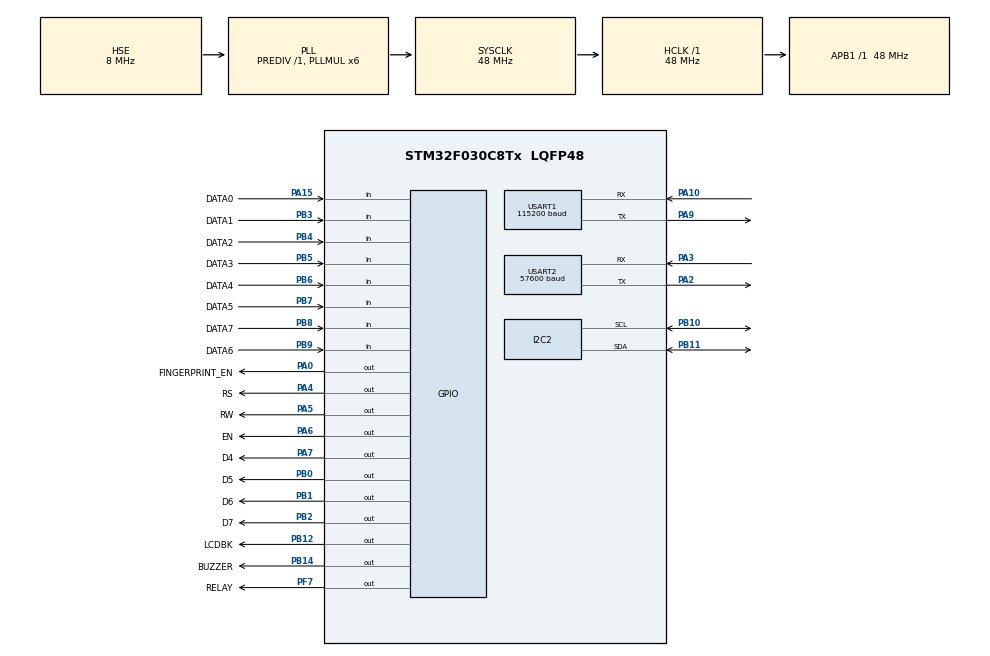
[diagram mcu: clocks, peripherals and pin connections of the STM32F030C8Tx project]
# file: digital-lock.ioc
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FREERTOS.Tasks01=counterTask,24,128,StartCounterTask,Default,NULL,Dynamic,NULL,NULL;keypadTask,8,128,StartKeypadTask,Default,NULL,Dynamic,NULL,NULL;gsmTask,8,128,StartGsmTask,Default,NULL,Dynamic,NULL,NULL;settingsTask,8,128,StartSettingsTask,Default,NULL,Dynamic,NULL,NULL
FREERTOS.configTOTAL_HEAP_SIZE=2530
I2C2.Timing=0x20303E5D
Mcu.Family=STM32F0
Mcu.Name=STM32F030C8Tx
Mcu.Package=LQFP48
NVIC.TIM1_BRK_UP_TRG_COM_IRQn=true\:3\:0\:false\:false\:true\:false\:false\:true\:true
NVIC.TimeBase=TIM1_BRK_UP_TRG_COM_IRQn
NVIC.TimeBaseIP=TIM1
PA0.GPIO_Label=FINGERPRINT_EN
PA0.Signal=GPIO_Output
PA10.Mode=Asynchronous
PA10.Signal=USART1_RX
PA15.GPIO_Label=DATA0
PA15.Signal=GPIO_Input
PA2.Mode=Asynchronous
PA2.Signal=USART2_TX
PA3.Mode=Asynchronous
PA3.Signal=USART2_RX
PA4.GPIO_Label=RS
PA4.Signal=GPIO_Output
PA5.GPIO_Label=RW
PA5.Signal=GPIO_Output
PA6.GPIO_Label=EN
PA6.Signal=GPIO_Output
PA7.GPIO_Label=D4
PA7.Signal=GPIO_Output
PA9.Mode=Asynchronous
PA9.Signal=USART1_TX
PB0.GPIO_Label=D5
PB0.Signal=GPIO_Output
PB1.GPIO_Label=D6
PB1.Signal=GPIO_Output
PB10.Mode=I2C
PB10.Signal=I2C2_SCL
PB11.Mode=I2C
PB11.Signal=I2C2_SDA
PB12.GPIO_Label=LCDBK
PB12.Signal=GPIO_Output
PB14.GPIO_Label=BUZZER
PB14.Signal=GPIO_Output
PB2.GPIO_Label=D7
PB2.Signal=GPIO_Output
PB3.GPIO_Label=DATA1
PB3.Signal=GPIO_Input
PB4.GPIO_Label=DATA2
PB4.Signal=GPIO_Input
PB5.GPIO_Label=DATA3
PB5.Signal=GPIO_Input
PB6.GPIO_Label=DATA4
PB6.Signal=GPIO_Input
PB7.GPIO_Label=DATA5
PB7.Signal=GPIO_Input
PB8.GPIO_Label=DATA7
PB8.Signal=GPIO_Input
PB9.GPIO_Label=DATA6
PB9.Signal=GPIO_Input
PF0-OSC_IN.Mode=HSE-External-Oscillator
PF0-OSC_IN.Signal=RCC_OSC_IN
PF1-OSC_OUT.Mode=HSE-External-Oscillator
PF1-OSC_OUT.Signal=RCC_OSC_OUT
PF7.GPIO_Label=RELAY
PF7.Signal=GPIO_Output
ProjectManager.HeapSize=0x200
ProjectManager.StackSize=0x00
ProjectManager.TargetToolchain=Makefile
RCC.AHBFreq_Value=48000000
RCC.APB1Freq_Value=48000000
RCC.APB1TimFreq_Value=48000000
RCC.HCLKFreq_Value=48000000
RCC.PLLMUL=RCC_PLL_MUL6
RCC.PLLSourceVirtual=RCC_PLLSOURCE_HSE
RCC.SYSCLKFreq_VALUE=48000000
RCC.SYSCLKSource=RCC_SYSCLKSOURCE_PLLCLK
USART1.BaudRate=115200
USART1.VirtualMode-Asynchronous=VM_ASYNC
USART2.BaudRate=57600
USART2.VirtualMode-Asynchronous=VM_ASYNC
VP_FREERTOS_VS_CMSIS_V2.Mode=CMSIS_V2
VP_SYS_VS_tim1.Mode=TIM1
board=custom

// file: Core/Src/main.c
/* USER CODE BEGIN Header */
/**
 ******************************************************************************
 * @file           : main.c
 * @brief          : Main program body
 ******************************************************************************
 * @attention
 *
 * Copyright (c) 2023 STMicroelectronics.
 * All rights reserved.
 *
 * This software is licensed under terms that can be found in the LICENSE file
 * in the root directory of this software component.
 * If no LICENSE file comes with this software, it is provided AS-IS.
 *
 ******************************************************************************
 */
/* USER CODE END Header */
#include "main.h"

#include "cmsis_os.h"
#include "gpio.h"
#include "i2c.h"
#include "usart.h"

void SystemClock_Config(void);
void MX_FREERTOS_Init(void);

int main(void) {

  /* MCU Configuration--------------------------------------------------------*/

  /* Reset of all peripherals, Initializes the Flash interface and the Systick. */
  HAL_Init();

  /* Configure the system clock */
  SystemClock_Config();

  /* Initialize all configured peripherals */
  MX_GPIO_Init();
  MX_USART1_UART_Init();
  MX_USART2_UART_Init();
  MX_I2C2_Init();

  /* Init scheduler */
  osKernelInitialize(); /* Call init function for freertos objects (in freertos.c) */
  MX_FREERTOS_Init();

  /* Start scheduler */
  osKernelStart();

  /* We should never get here as control is now taken by the scheduler */
  /* Infinite loop */
  while (1) {

  }
}

void SystemClock_Config(void) {
  RCC_OscInitTypeDef       RCC_OscInitStruct = {0};
  RCC_ClkInitTypeDef       RCC_ClkInitStruct = {0};
  RCC_PeriphCLKInitTypeDef PeriphClkInit     = {0};

  /** Initializes the RCC Oscillators according to the specified parameters
   * in the RCC_OscInitTypeDef structure.
   */
  RCC_OscInitStruct.OscillatorType = RCC_OSCILLATORTYPE_HSE;
  RCC_OscInitStruct.HSEState       = RCC_HSE_ON;
  RCC_OscInitStruct.PLL.PLLState   = RCC_PLL_ON;
  RCC_OscInitStruct.PLL.PLLSource  = RCC_PLLSOURCE_HSE;
  RCC_OscInitStruct.PLL.PLLMUL     = RCC_PLL_MUL6;
  RCC_OscInitStruct.PLL.PREDIV     = RCC_PREDIV_DIV1;
  if (HAL_RCC_OscConfig(&RCC_OscInitStruct) != HAL_OK)
    Error_Handler();

  /** Initializes the CPU, AHB and APB buses clocks
   */
  RCC_ClkInitStruct.ClockType      = RCC_CLOCKTYPE_HCLK | RCC_CLOCKTYPE_SYSCLK | RCC_CLOCKTYPE_PCLK1;
  RCC_ClkInitStruct.SYSCLKSource   = RCC_SYSCLKSOURCE_PLLCLK;
  RCC_ClkInitStruct.AHBCLKDivider  = RCC_SYSCLK_DIV1;
  RCC_ClkInitStruct.APB1CLKDivider = RCC_HCLK_DIV1;

  if (HAL_RCC_ClockConfig(&RCC_ClkInitStruct, FLASH_LATENCY_1) != HAL_OK)
    Error_Handler();
  PeriphClkInit.PeriphClockSelection = RCC_PERIPHCLK_USART1;
  PeriphClkInit.Usart1ClockSelection = RCC_USART1CLKSOURCE_PCLK1;
  if (HAL_RCCEx_PeriphCLKConfig(&PeriphClkInit) != HAL_OK)
    Error_Handler();
}

void HAL_TIM_PeriodElapsedCallback(TIM_HandleTypeDef *htim) {
  if (htim->Instance == TIM1)
    HAL_IncTick();
}

void Error_Handler(void) {
  __disable_irq();
  while (1) {
  }
}

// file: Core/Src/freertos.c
/* USER CODE BEGIN Header */
/**
 ******************************************************************************
 * File Name          : freertos.c
 * Description        : Code for freertos applications
 ******************************************************************************
 * @attention
 *
 * Copyright (c) 2023 STMicroelectronics.
 * All rights reserved.
 *
 * This software is licensed under terms that can be found in the LICENSE file
 * in the root directory of this software component.
 * If no LICENSE file comes with this software, it is provided AS-IS.
 *
 ******************************************************************************
 */
/* USER CODE END Header */

#include "FreeRTOS.h"

#include "cmsis_os.h"
#include "main.h"
#include "task.h"

/* USER CODE BEGIN Includes */
#include <limits.h>
#include <stdint.h>
#include <stdio.h>
#include <string.h>
#include <time.h>

#include "Fingerprint.h"
#include "KeyPad.h"
#include "cJSON.h"
#include "ds1307.h"
#include "ee24.h"
#include "gsm.h"
#include "lcd.h"
#include "modes.h"
#include "sha-256.h"
#include "usart.h"

/* USER CODE END Includes */

/* USER CODE BEGIN PD */
#define LCD_BK_ON       HAL_GPIO_WritePin(LCDBK_GPIO_Port, LCDBK_Pin, GPIO_PIN_SET)
#define LCD_BK_OFF      HAL_GPIO_WritePin(LCDBK_GPIO_Port, LCDBK_Pin, GPIO_PIN_RESET)
#define RELAY_ON        HAL_GPIO_WritePin(RELAY_GPIO_Port, RELAY_Pin, GPIO_PIN_SET)
#define RELAY_OFF       HAL_GPIO_WritePin(RELAY_GPIO_Port, RELAY_Pin, GPIO_PIN_RESET)
#define BUZZER_ON       HAL_GPIO_WritePin(BUZZER_GPIO_Port, BUZZER_Pin, GPIO_PIN_SET)
#define BUZZER_OFF      HAL_GPIO_WritePin(BUZZER_GPIO_Port, BUZZER_Pin, GPIO_PIN_RESET)
#define FINGERPRINT_ON  HAL_GPIO_WritePin(FINGERPRINT_EN_GPIO_Port, FINGERPRINT_EN_Pin, GPIO_PIN_SET)
#define FINGERPRINT_OFF HAL_GPIO_WritePin(FINGERPRINT_EN_GPIO_Port, FINGERPRINT_EN_Pin, GPIO_PIN_RESET)

#define SIZE_OF_SHA_256_HASH_STRING 65
#define EEPROM_SIZE                 32

/* USER CODE END PD */

/* USER CODE BEGIN Variables */
Lcd_HandleTypeDef  lcd;
EE24_HandleTypeDef ee24;
Mode               activeMode             = NORMAL;
uint8_t            ee24_data[EEPROM_SIZE] = {0};
char               phoneNumber[]          = "099****8679";
char               welcomeMessage[8]      = "WELCOME";
char               errorMessage[8]        = "ERROR";
char               password[SIZE_OF_SHA_256_HASH_STRING]
    = "ff98ef67b552532453d1ad8b1912a776ab1b30bf3814fa009b8ffe3c3e5b7efe"; // 235689
char    passwordtemp[16] = {0};
uint8_t passwordIndex    = 0;
uint8_t relayDelay       = 5;
uint8_t userLastId       = 1;

/* USER CODE END Variables */
/* Definitions for counterTask */
osThreadId_t         counterTaskHandle;
const osThreadAttr_t counterTask_attributes = {
    .name       = "counterTask",
    .stack_size = 128 * 1,
    .priority   = (osPriority_t)osPriorityNormal,
};
/* Definitions for keypadTask */
osThreadId_t         keypadTaskHandle;
const osThreadAttr_t keypadTask_attributes = {
    .name       = "keypadTask",
    .stack_size = 128 * 4,
    .priority   = (osPriority_t)osPriorityLow,
};
/* Definitions for gsmTask */
osThreadId_t         gsmTaskHandle;
const osThreadAttr_t gsmTask_attributes = {
    .name       = "gsmTask",
    .stack_size = 128 * 5,
    .priority   = (osPriority_t)osPriorityLow,
};
/* Definitions for settingsTask */
osThreadId_t         settingsTaskHandle;
const osThreadAttr_t settingsTask_attributes = {
    .name       = "settingsTask",
    .stack_size = 128 * 6,
    .priority   = (osPriority_t)osPriorityLow,
};

/* USER CODE BEGIN FunctionPrototypes */

void clearVaribles() {
  Lcd_clear(&lcd);
  passwordIndex = 0;

  for (uint8_t i = 0; i < 16; i++) passwordtemp[i] = 0;
}

void setDateTime() {
  // const char *DAYS_OF_WEEK[7]
  //     = {"Sunday", "Monday", "Tuesday", "Wednesday", "Thursday", "Friday", "Saturday"};

  DS1307_SetTimeZone(+3, 30);
  DS1307_SetDate(1);
  DS1307_SetMonth(1);
  DS1307_SetYear(2024);
  DS1307_SetHour(12);
  DS1307_SetMinute(30);
  DS1307_SetSecond(30);
}

void getDateTime(char *ans) {
  struct tm st = {
      .tm_sec  = (int)DS1307_GetSecond(),        /* Seconds.	[0-60] (1 leap second) */
      .tm_min  = (int)DS1307_GetMinute(),        /* Minutes.	[0-59] */
      .tm_hour = (int)DS1307_GetHour(),          /* Hours.	[0-23] */
      .tm_mday = (int)DS1307_GetDate(),          /* Day.		[1-31] */
      .tm_mon  = ((int)DS1307_GetMonth()) - 1,   /* Month.	[0-11] */
      .tm_year = ((int)DS1307_GetYear()) - 1900, /* Year	- 1900.  */
      .tm_wday = (int)DS1307_GetDayOfWeek(),     /* Day of week.	[0-6] */
  };
  // time_t t = mktime(&st);
  // sprintf(ans, "%ld", t);
  strftime(ans, 16, "%m-%d %H:%M:%S", &st);
}

void openLock() {
  RELAY_ON;
  osDelay(relayDelay * 1000);
  RELAY_OFF;
}

void hash_to_string(char string[SIZE_OF_SHA_256_HASH_STRING], const uint8_t hash[SIZE_OF_SHA_256_HASH]) {
  for (size_t i = 0; i < SIZE_OF_SHA_256_HASH; i++) string += sprintf(string, "%02x", hash[i]);
}

int hash_check(const char input[], const char output[]) {
  uint8_t hash[SIZE_OF_SHA_256_HASH];
  char    hash_string[SIZE_OF_SHA_256_HASH_STRING];
  calc_sha_256(hash, input, strlen(input));
  hash_to_string(hash_string, hash);
  return strcmp(output, hash_string) == 0;
}

void checkPasswordAndOpen() {
  activeMode = CHECK_PASSWORD;

  int result = hash_check(passwordtemp, password);

  if (result) {
    Lcd_clear(&lcd);
    Lcd_string(&lcd, welcomeMessage);
    openLock();
  } else {
    Lcd_clear(&lcd);
    Lcd_string(&lcd, errorMessage);
    osDelay(relayDelay * 1000);
  }

  activeMode = NORMAL;
  clearVaribles();
}

void smsCallBack(char *message) {
  if (message == NULL || *message == '\0')
    return;

  const cJSON *mode        = NULL;
  cJSON       *jsonMessage = cJSON_Parse(message);
  if (jsonMessage == NULL)
    goto end;

  mode = cJSON_GetObjectItemCaseSensitive(jsonMessage, "mode");
  if (!cJSON_IsNumber(mode))
    goto end;

  int modeNumber = mode->valuedouble;
  switch (modeNumber) {
  case SEND_STATUS:
    cJSON *object = cJSON_CreateObject();
    char   t[10]  = {0};
    getDateTime(t);
    cJSON_AddStringToObject(object, "time", t);
    cJSON_AddStringToObject(object, "name", "Reza");
    cJSON_AddNumberToObject(object, "code", 1402);
    char *ss = cJSON_PrintUnformatted(object);
    if (ss == NULL)
      ss = "Null";

    // Gsm_SendSms(phoneNumber, ss);
    cJSON_Delete(object);
    break;

  case GET_SETTINGS_FROM_SMS:
    // TODO
    break;

  default: break;
  }

end:
  cJSON_Delete(jsonMessage);
}

void createUser() {
  activeMode = CREATE_USER;
  Lcd_clear(&lcd);
  Lcd_string(&lcd, "Create User");
  Lcd_cursor(&lcd, 1, 0);
  Lcd_string(&lcd, "Ready?");

  char input_key = -1, answer = -1;

  input_key = KeyPad_WaitForKeyGetChar(0);
  if (!(input_key >= '0' && input_key <= '9')) {
    Lcd_clear(&lcd);
    activeMode = NORMAL;
    return;
  }

  while (answer != FINGERPRINT_OK) {
    Lcd_clear(&lcd);
    Lcd_string(&lcd, "Get Finger 1");
    answer = r308_getimage();
    switch (answer) {
    case FINGERPRINT_OK:
      Lcd_clear(&lcd);
      Lcd_string(&lcd, "FP: OK");
      break;

    default:
      Lcd_clear(&lcd);
      Lcd_string(&lcd, "FP: Try again!");
      break;
    }

    if (answer == FINGERPRINT_OK) {
      answer = r308_genchar(0x01);
      switch (answer) {
      case FINGERPRINT_OK:
        Lcd_clear(&lcd);
        Lcd_string(&lcd, "FP:GenChar1 OK");
        break;

      default:
        Lcd_clear(&lcd);
        Lcd_string(&lcd, "FP:GenChar1 Err");
        break;
      }
    }

    Lcd_cursor(&lcd, 1, 0);
    Lcd_string(&lcd, "Ready?");
    input_key = KeyPad_WaitForKeyGetChar(0);
    if (!(input_key >= '0' && input_key <= '9')) {
      Lcd_clear(&lcd);
      activeMode = NORMAL;
      return;
    }
  }

  input_key = -1, answer = -1;
  while (answer != FINGERPRINT_OK) {
    Lcd_clear(&lcd);
    Lcd_string(&lcd, "Get Finger 2");
    answer = r308_getimage();
    switch (answer) {
    case FINGERPRINT_OK:
      Lcd_clear(&lcd);
      Lcd_string(&lcd, "FP: OK");
      break;

    default:
      Lcd_clear(&lcd);
      Lcd_string(&lcd, "FP: Try again!");
      break;
    }

    if (answer == FINGERPRINT_OK) {
      answer = r308_genchar(0x02);
      switch (answer) {
      case FINGERPRINT_OK:
        Lcd_clear(&lcd);
        Lcd_string(&lcd, "FP:GenChar2 OK");
        break;

      default:
        Lcd_clear(&lcd);
        Lcd_string(&lcd, "FP:GenChar2 Err");
        break;
      }
    }

    Lcd_cursor(&lcd, 1, 0);
    Lcd_string(&lcd, "Ready?");
    input_key = KeyPad_WaitForKeyGetChar(0);
    if (!(input_key >= '0' && input_key <= '9')) {
      Lcd_clear(&lcd);
      activeMode = NORMAL;
      return;
    }
  }

  answer = r308_regmodel();
  switch (answer) {
  case FINGERPRINT_OK:
    Lcd_clear(&lcd);
    Lcd_string(&lcd, "FP:RegModel OK");
    break;

  default:
    Lcd_clear(&lcd);
    Lcd_string(&lcd, "FP:RegModel Err");
    Lcd_cursor(&lcd, 1, 0);
    Lcd_string(&lcd, "Ready?");
    return;
  }

  answer = r308_store(userLastId);
  switch (answer) {
  case FINGERPRINT_OK:
    Lcd_clear(&lcd);
    char s[16] = {0};
    sprintf(s, "ID: %d", userLastId);
    Lcd_string(&lcd, s);
    break;

  default:
    Lcd_string(&lcd, "FP: onSave Err");
    Lcd_cursor(&lcd, 1, 0);
    Lcd_string(&lcd, "Ready?");
    return;
  }

  if (answer == FINGERPRINT_OK) {
    userLastId++;
    osDelay(3000);
    activeMode = NORMAL;
  }
}

void readUser() {
  activeMode = READ_USER;
  Lcd_clear(&lcd);
  Lcd_string(&lcd, "Read User");
  Lcd_cursor(&lcd, 1, 0);
  Lcd_string(&lcd, "Ready?");

  char input_key = -1, answer = -1;

  input_key = KeyPad_WaitForKeyGetChar(0);
  if (!(input_key >= '0' && input_key <= '9')) {
    Lcd_clear(&lcd);
    activeMode = NORMAL;
    return;
  }

  Lcd_clear(&lcd);
  Lcd_string(&lcd, "Get Finger");
  answer = r308_getimage();
  switch (answer) {
  case FINGERPRINT_OK: break;

  default:
    Lcd_clear(&lcd);
    Lcd_string(&lcd, "FP: Try again!");
    osDelay(3000); // to show message
    return;
  }

  answer = r308_genchar(0x01);
  switch (answer) {
  case FINGERPRINT_OK: break;

  default:
    Lcd_clear(&lcd);
    Lcd_string(&lcd, "FP:GenChar Err");
    osDelay(3000);
    break;
  }

  uint16_t search_answer = r308_search();
  switch (search_answer) {
  case FINGERPRINT_PACKETRECIEVEERR:
    Lcd_clear(&lcd);
    Lcd_string(&lcd, "PF: Rec Err");
    break;

  case FINGERPRINT_NOTFOUND:
    Lcd_clear(&lcd);
    Lcd_string(&lcd, "FP: Not Found");
    osDelay(relayDelay * 1000);
    break;

  default:
    Lcd_clear(&lcd);
    char buffer[16];
    sprintf(buffer, "%s %d", welcomeMessage, search_answer);
    Lcd_string(&lcd, buffer);
    openLock();
    break;
  }

  activeMode = NORMAL;
}

void updateUser() {
  // TODO
}

void deleteUser() {
  // TODO
}

/* USER CODE END FunctionPrototypes */

void StartCounterTask(void *argument);
void StartKeypadTask(void *argument);
void StartGsmTask(void *argument);
void StartSettingsTask(void *argument);

void MX_FREERTOS_Init(void); /* (MISRA C 2004 rule 8.1) */

void MX_FREERTOS_Init(void) {

  /* Create the thread(s) */
  /* creation of counterTask */
  counterTaskHandle = osThreadNew(StartCounterTask, NULL, &counterTask_attributes);

  /* creation of keypadTask */
  keypadTaskHandle = osThreadNew(StartKeypadTask, NULL, &keypadTask_attributes);

  /* creation of gsmTask */
  gsmTaskHandle = osThreadNew(StartGsmTask, NULL, &gsmTask_attributes);

  /* creation of settingsTask */
  settingsTaskHandle = osThreadNew(StartSettingsTask, NULL, &settingsTask_attributes);

}

void StartCounterTask(void *argument) {
  /* USER CODE BEGIN StartCounterTask */
  DS1307_Init(&hi2c2);
  setDateTime();
  LCD_BK_ON;
  Lcd_PortType ports[] = {D4_GPIO_Port, D5_GPIO_Port, D6_GPIO_Port, D7_GPIO_Port};
  Lcd_PinType  pins[]  = {D4_Pin, D5_Pin, D6_Pin, D7_Pin};
  lcd                  = Lcd_create(ports, pins, RS_GPIO_Port, RS_Pin, EN_GPIO_Port, EN_Pin, LCD_4_BIT_MODE);

  /* Infinite loop */
  uint16_t i = 0;
  for (;;) {
    switch (activeMode) {
    case NORMAL:
      // show time in lcd
      Lcd_cursor(&lcd, 0, 0);

      char t[16] = {0};
      getDateTime(t);
      Lcd_string(&lcd, t);
      Lcd_cursor(&lcd, 1, passwordIndex);
      break;

    case LOCK:
      Lcd_cursor(&lcd, 0, 0);
      Lcd_string(&lcd, "DISABLE MODE");
      break;

    default: break;
    }

    if (i < USHRT_MAX)
      i++;
    else
      i = 0;

    osDelay(1000);
  }
  /* USER CODE END StartCounterTask */
}

void StartKeypadTask(void *argument) {
  /* USER CODE BEGIN StartKeypadTask */
  KeyPad_Init();

  // wait for lcd initialisation done
  while (!lcd.en_pin) osDelay(500);

  FINGERPRINT_ON;
  char ans = -1;
  for (uint8_t i = 0; i < 5; i++) {
    ans = r308_verifypassword();
    switch (ans) {
    case FINGERPRINT_OK:               break;
    case FINGERPRINT_PACKETRECIEVEERR: Lcd_string(&lcd, "FP Error!"); break;
    case FINGERPRINT_WRONGPASSWORD:    Lcd_string(&lcd, "FP: Wrong PW!"); break;

    default: break;
    }

    if (ans == FINGERPRINT_OK)
      break;
  }

  /* Infinite loop */
  for (;;) {
    char input_key;
    switch (activeMode) {
    case NORMAL:
      input_key = KeyPad_WaitForKeyGetChar(0);

      if (input_key >= '0' && input_key <= '9') {
        // get a password
        char key_buffer[2];
        sprintf(key_buffer, "*");
        Lcd_string(&lcd, key_buffer);
        passwordtemp[passwordIndex] = input_key;

        passwordIndex++;
        if (passwordIndex > 15)
          passwordIndex = 0;
      } // else
        // get a command
      break;

    case LOCK: input_key = KeyPad_WaitForKeyGetChar(0); break;

    // USER CRUD Operations
    case CREATE_USER: createUser(); continue;

    case READ_USER: readUser(); continue;

    case UPDATE_USER: updateUser(); continue;

    case DELETE_USER: deleteUser(); continue;

    default:
      // dont run below statements
      continue;
    }

    // for NORMAL and LOCK mode
    switch (input_key) {
    case 'A':
      if (activeMode == NORMAL)
        checkPasswordAndOpen();
      break;

    case 'D':
      activeMode = activeMode == NORMAL ? LOCK : NORMAL;
      clearVaribles();
      break;

    case 'B': activeMode = WRITE_SETTINGS_TO_EEPROM; break;

    case 'C': createUser(); break;

    case '*': break;

    case '#': readUser(); break;

    default: break;
    }
  }
  /* USER CODE END StartKeypadTask */
}

void StartGsmTask(void *argument) {
  /* USER CODE BEGIN StartGsmTask */

  // osDelay(300);
  // Gsm_SendSms("zz", "zz");

#if (DEBUG_MODE)
  printf("[GSM] started\n");
#endif

  /* Infinite loop */
  for (;;) {
    // char message[50] = {0};
    // Gsm_WaitForMessage(message);
    // smsCallBack(message);
  }
  /* USER CODE END StartGsmTask */
}

void StartSettingsTask(void *argument) {
  /* USER CODE BEGIN StartSettingsTask */

  if (EE24_Init(&ee24, &hi2c2, EE24_ADDRESS_DEFAULT)) {
    if (EE24_Read(&ee24, 0, ee24_data, EEPROM_SIZE, 1000)) {
      // set settings from eeprom
      cJSON *ee24settings = cJSON_Parse((char *)ee24_data);

      cJSON *wMessage = cJSON_GetObjectItem(ee24settings, "welMes");
      if (cJSON_IsString(wMessage)) {
        char *s = cJSON_GetStringValue(wMessage);
        Lcd_string(&lcd, s);
        sprintf(welcomeMessage, "%s", cJSON_GetStringValue(wMessage));
      }

      cJSON_Delete(ee24settings);
    }
  }

  /* Infinite loop */
  for (;;) {
    if (activeMode == WRITE_SETTINGS_TO_EEPROM) {
      // save settings to eeprom
      cJSON *object = cJSON_CreateObject();
      cJSON_AddStringToObject(object, "welMes", "Hello");

      char *ss = cJSON_PrintUnformatted(object);
      sprintf((char *)ee24_data, "%s", ss);
      EE24_Write(&ee24, 0, ee24_data, EEPROM_SIZE, 1000);
      Lcd_string(&lcd, (char *)ee24_data);
      cJSON_Delete(object);

      activeMode = NORMAL;
    }

    osDelay(100);
  }
  /* USER CODE END StartSettingsTask */
}
